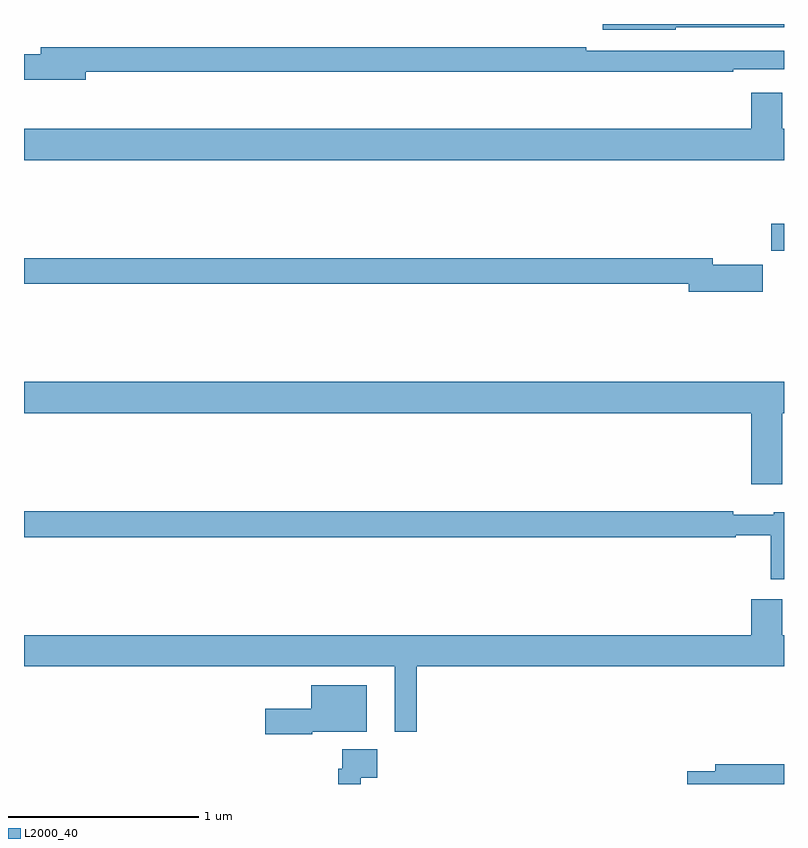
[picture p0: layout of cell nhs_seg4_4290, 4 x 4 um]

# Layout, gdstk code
import gdstk
lib = gdstk.Library(unit=1e-6, precision=1e-09)
def R(c, l, rs):  # rectangles x0, y0, x1, y1
    for r in rs: c.add(gdstk.rectangle(r[:2], r[2:], *l))
def P(c, l, *ps):  # polygons
    for p in ps: c.add(gdstk.Polygon(p, *l))
L2000_40 = (2000, 40)

nhs_seg4_4290 = lib.new_cell('nhs_seg4_4290')
R(nhs_seg4_4290, L2000_40, [(344.934,765.707,345,765.849)])
P(nhs_seg4_4290, L2000_40, [(344.43,766.884),(345,766.884),(345,766.9),(344.046,766.9),(344.046,766.871),(344.43,766.871)],
  [(341.326,766.65),(344.732,766.65),(344.732,766.662),(345,766.662),(345,766.758),(343.958,766.758),(343.958,766.778),(341.087,766.778),(341.087,766.742),(341,766.742),(341,766.607),(341.326,766.607)],
  [(345,766.348),(344.992,766.348),(344.992,766.537),(344.828,766.537),(344.828,766.348),(341,766.348),(341,766.184),(345,766.184)],
  [(344.887,765.632),(344.626,765.632),(344.626,765.668),(341,765.668),(341,765.532),(344.498,765.532),(344.498,765.49),(344.887,765.49)],
  [(344.992,764.852),(345,764.852),(345,765.016),(341,765.016),(341,764.852),(344.828,764.852),(344.828,764.478),(344.992,764.478)],
  [(345,764.329),(344.946,764.329),(344.946,764.317),(344.732,764.317),(344.732,764.336),(341,764.336),(341,764.2),(344.746,764.2),(344.746,764.208),(344.93,764.208),(344.93,763.977),(345,763.977)],
  [(343.067,763.52),(345,763.52),(345,763.684),(344.992,763.684),(344.992,763.873),(344.828,763.873),(344.828,763.684),(341,763.684),(341,763.52),(342.95,763.52),(342.95,763.176),(343.067,763.176)],
  [(342.516,763.175),(342.805,763.175),(342.805,763.42),(342.512,763.42),(342.512,763.297),(342.27,763.297),(342.27,763.163),(342.516,763.163)],
  [(342.773,762.932),(342.859,762.932),(342.859,763.084),(342.675,763.084),(342.675,762.98),(342.655,762.98),(342.655,762.9),(342.773,762.9)],
  [(345,763.004),(344.639,763.004),(344.639,762.968),(344.49,762.968),(344.49,762.9),(345,762.9)])

lib.write_gds('nhs_seg4_4290.gds')
